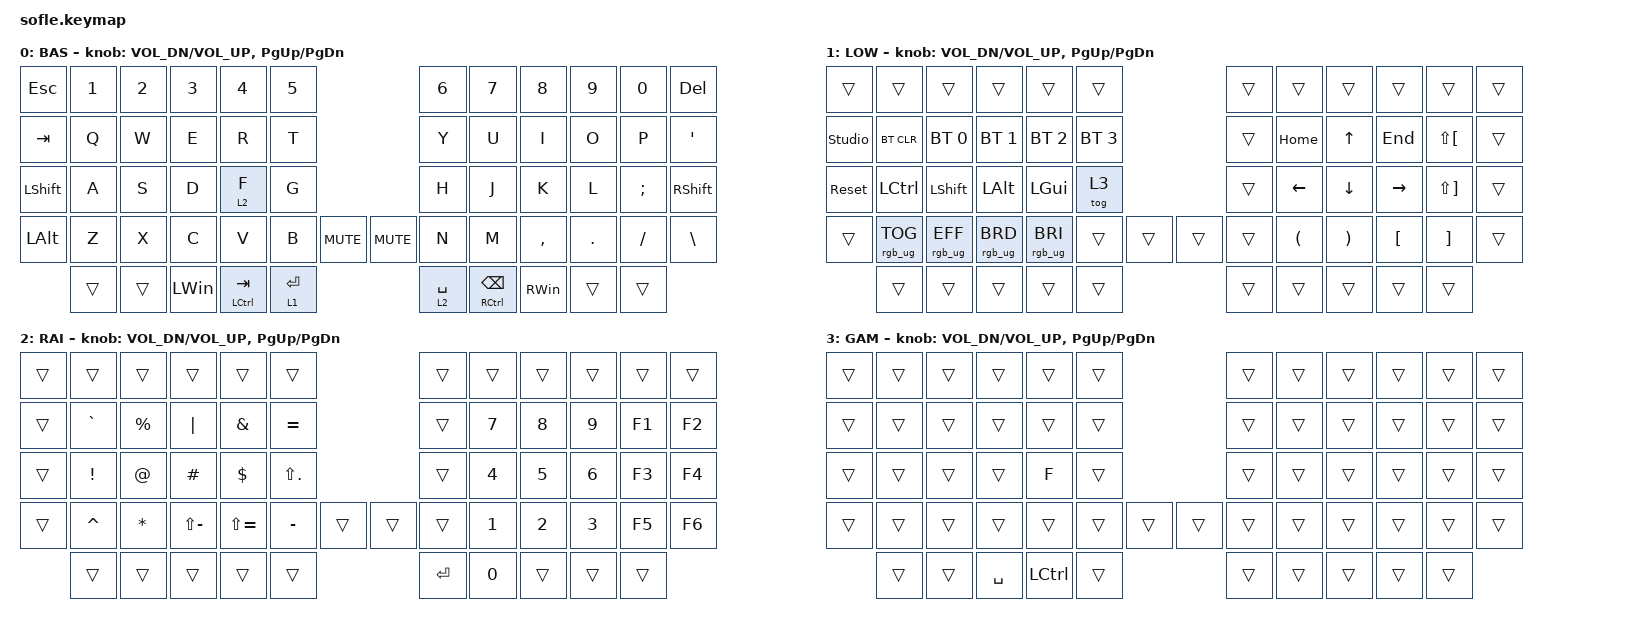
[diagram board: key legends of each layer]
/*
 * Copyright (c) 2020 The ZMK Contributors
 *
 * SPDX-License-Identifier: MIT
 */

#include <behaviors.dtsi>
#include <dt-bindings/zmk/keys.h>
#include <dt-bindings/zmk/bt.h>
#include <dt-bindings/zmk/outputs.h>
#include <dt-bindings/zmk/ext_power.h>
#include <dt-bindings/led/led.h>
#include <dt-bindings/zmk/backlight.h>
#include <dt-bindings/zmk/rgb.h>
#include <dt-bindings/zmk/reset.h>

/ {
    keymap {
        compatible = "zmk,keymap";

        default_layer {
            display-name = "BAS";
            // ------------------------------------------------------------------------------------------------------------
            // |  `    |  1  |  2  |  3   |  4   |  5   |                   |  6   |  7    |  8    |  9   |   0   |       |
            // |  ESC  |  Q  |  W  |  E   |  R   |  T   |                   |  Y   |  U    |  I    |  O   |   P   | BKSPC |
            // |  TAB  |  A  |  S  |  D   |  F   |  G   |                   |  H   |  J    |  K    |  L   |   ;   |   '   |
            // | SHIFT |  Z  |  X  |  C   |  V   |  B   |  MUTE  |  |       |  N   |  M    |  ,    |  .   |   /   | SHIFT |
            //               | GUI | ALT  | CTRL | LOWER|  ENTER |  | SPACE | RAISE| CTRL  | ALT   | GUI  |

            bindings = <
&kp ESC     &kp N1  &kp N2      &kp N3      &kp N4          &kp N5                                  &kp N6      &kp N7          &kp N8     &kp N9    &kp N0    &kp DEL
&kp TAB     &kp Q   &kp W       &kp E       &kp R           &kp T                                   &kp Y       &kp U           &kp I      &kp O     &kp P     &kp SQT
&kp LSHFT   &kp A   &kp S       &kp D       &lt 2 F         &kp G                                   &kp H       &kp J           &kp K      &kp L     &kp SEMI  &kp RSHFT
&kp LALT    &kp Z   &kp X       &kp C       &kp V           &kp B       &kp C_MUTE      &kp C_MUTE  &kp N       &kp M           &kp COMMA  &kp DOT   &kp FSLH  &kp BSLH
            &trans  &trans      &kp LWIN    &mt LCTRL TAB   &lt 1 RET                               &lt 2 SPACE &mt RCTRL BSPC  &kp RWIN    &trans   &trans
            >;

            sensor-bindings = <&inc_dec_kp C_VOL_DN C_VOL_UP &inc_dec_kp PG_UP PG_DN>;
        };

        lower_layer {
            display-name = "LOW";
            // ------------------------------------------------------------------------------------------------------------
            // |       |  F1 |  F2 |  F3  |  F4  |  F5  |                   |  F6  |  F7   |  F8   |  F9  |  F10  |  F11  |
            // | `     |   1 |   2 |   3  |   4  |   5  |                   |   6  |   7   |   8   |   9  |    0  |  F12  |
            // |       |BTCLR| BT1 | BT2  | BT3  | BT4  |                   | LEFT | DOWN  |  UP   | RIGHT |  INS  |PRINTSCREEN|
            // |       |     | HOME| PGUP | PGDN | END  |        |  |       | UNDO |  CUT  | COPY  | PASTE |  DEL  |    BKSP   |
            //               |     |      |      |      |        |  |       |      |       |       |      |

            bindings = <
&trans          &trans              &trans          &trans          &trans          &trans                                   &trans  &trans    &trans    &trans      &trans          &trans
&studio_unlock  &bt BT_CLR          &bt BT_SEL 0    &bt BT_SEL 1    &bt BT_SEL 2    &bt BT_SEL 3                            &trans  &kp HOME  &kp UP    &kp END     &kp LS(LBKT)    &trans
&sys_reset      &kp LCTRL           &kp LSHFT       &kp LALT        &kp LGUI        &tog 3                                  &trans  &kp LEFT  &kp DOWN  &kp RIGHT   &kp LS(RBKT)    &trans
&trans          &rgb_ug  RGB_TOG    &rgb_ug RGB_EFF &rgb_ug RGB_BRD &rgb_ug RGB_BRI &trans          &trans          &trans  &trans  &kp LPAR  &kp RPAR  &kp LBKT    &kp RBKT        &trans
                &trans              &trans          &trans          &trans          &trans                                  &trans  &trans    &trans    &trans      &trans
            >;

            sensor-bindings = <&inc_dec_kp C_VOL_DN C_VOL_UP &inc_dec_kp PG_UP PG_DN>;
        };

        raise_layer {
            display-name = "RAI";
            // ------------------------------------------------------------------------------------------------------------
            // |     |       |       |       |       |       |                |      |      |       |      |       |       |
            // |     |   !   |   @   |   #   |   $   |   %   |                |   ^  |  &   |   *   |   (  |   )   |       |
            // |     |RGB_TOG|RGB_HUI|RGB_SAI|RGB_BRI|       |                |   -  |   =  |   [   |   ]  |   \   | GRAVE |
            // |     |RGB_EFF|RGB_HUD|RGB_SAD|RGB_BRD|QK_BOOT|      |  |      |   _  |   +  |   {   |   }  |   |   |   ~   |
            //              |      |       |       |      |      |  |      |      |      |       |      |

            bindings = <
&trans  &trans      &trans      &trans          &trans          &trans                              &trans  &trans  &trans  &trans  &trans  &trans
&trans  &kp GRAVE   &kp PRCNT   &kp PIPE        &kp AMPS        &kp EQUAL                           &trans  &kp N7  &kp N8  &kp N9  &kp F1  &kp F2
&trans  &kp EXCL    &kp AT      &kp HASH        &kp DLLR        &kp LS(DOT)                         &trans  &kp N4  &kp N5  &kp N6  &kp F3  &kp F4
&trans  &kp CARET   &kp ASTRK   &kp LS(MINUS)   &kp LS(EQUAL)   &kp MINUS       &trans      &trans  &trans  &kp N1  &kp N2  &kp N3  &kp F5  &kp F6
        &trans      &trans      &trans          &trans          &trans                              &kp RET &kp N0  &trans  &trans  &trans
            >;

            sensor-bindings = <&inc_dec_kp C_VOL_DN C_VOL_UP &inc_dec_kp PG_UP PG_DN>;
        };
        game_layer {
            display-name = "GAM";
            // Gaming layer (toggle: LOWER + G). Left half only; right hand is on the mouse.
            // - Super thumb becomes SPACE (jump) so no Mod+key can reach niri mid-game.
            // - CTRL thumb is a plain CTRL (the base mod-tap sends TAB on a quick tap).
            // - F is a plain F (the base layer-tap sends RAISE on hold).
            // Everything else falls through to BASE.
            bindings = <
&trans  &trans  &trans  &trans  &trans      &trans                              &trans  &trans  &trans  &trans  &trans  &trans
&trans  &trans  &trans  &trans  &trans      &trans                              &trans  &trans  &trans  &trans  &trans  &trans
&trans  &trans  &trans  &trans  &kp F       &trans                              &trans  &trans  &trans  &trans  &trans  &trans
&trans  &trans  &trans  &trans  &trans      &trans  &trans              &trans  &trans  &trans  &trans  &trans  &trans  &trans
        &trans  &trans  &kp SPACE &kp LCTRL &trans                              &trans  &trans  &trans  &trans  &trans
            >;

            sensor-bindings = <&inc_dec_kp C_VOL_DN C_VOL_UP &inc_dec_kp PG_UP PG_DN>;
        };

        extra_2 {
            status = "reserved";
        };

        extra_3 {
            status = "reserved";
        };
    };
};
